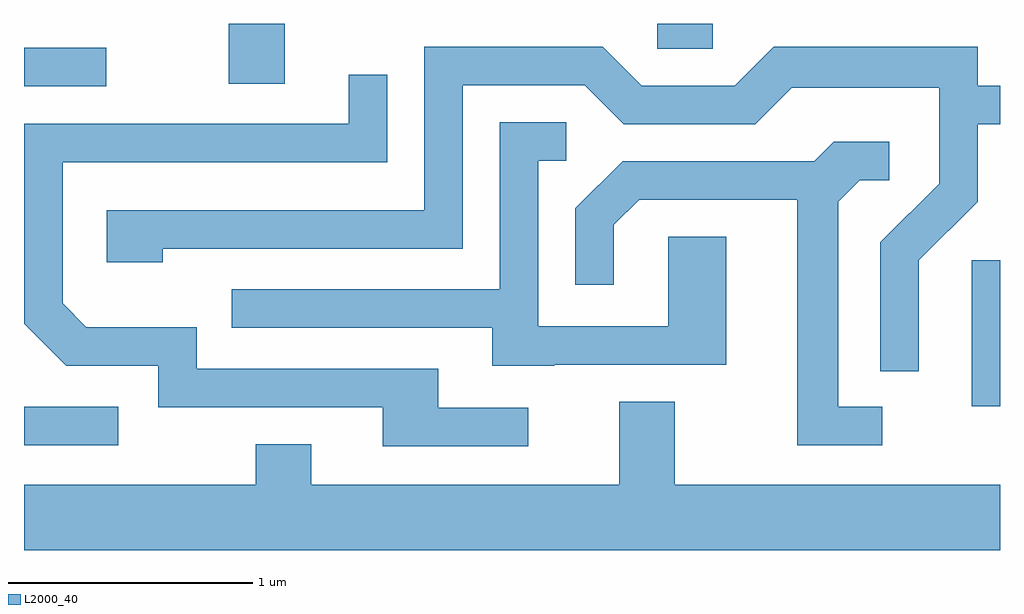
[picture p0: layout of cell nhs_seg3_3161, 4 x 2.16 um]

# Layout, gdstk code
import gdstk
lib = gdstk.Library(unit=1e-6, precision=1e-09)
def R(c, l, rs):  # rectangles x0, y0, x1, y1
    for r in rs: c.add(gdstk.rectangle(r[:2], r[2:], *l))
def P(c, l, *ps):  # polygons
    for p in ps: c.add(gdstk.Polygon(p, *l))
L2000_40 = (2000, 40)

nhs_seg3_3161 = lib.new_cell('nhs_seg3_3161')
R(nhs_seg3_3161, L2000_40, [(277.611,1184.166,277.998,1184.324), (281.496,1184.326,281.611,1184.924), (277.611,1185.636,277.948,1185.794), (278.451,1185.646,278.679,1185.892), (280.206,1185.791,280.434,1185.892)])
P(nhs_seg3_3161, L2000_40, [(281.279,1184.924),(281.519,1185.164),(281.519,1185.481),(281.611,1185.481),(281.611,1185.639),(281.519,1185.639),(281.519,1185.799),(280.684,1185.799),(280.524,1185.639),(280.142,1185.639),(279.982,1185.799),(279.251,1185.799),(279.251,1185.129),(277.951,1185.129),(277.951,1184.916),(278.179,1184.916),(278.179,1184.971),(279.409,1184.971),(279.409,1185.641),(279.909,1185.641),(280.069,1185.481),(280.607,1185.481),(280.757,1185.631),(281.361,1185.631),(281.361,1185.237),(281.121,1184.997),(281.121,1184.468),(281.279,1184.468)],
  [(279.678,1184.319),(279.309,1184.319),(279.309,1184.479),(278.319,1184.479),(278.319,1184.649),(277.867,1184.649),(277.769,1184.747),(277.769,1185.326),(279.099,1185.326),(279.099,1185.683),(278.941,1185.683),(278.941,1185.484),(277.611,1185.484),(277.611,1184.664),(277.784,1184.491),(278.161,1184.491),(278.161,1184.321),(279.081,1184.321),(279.081,1184.161),(279.678,1184.161)],
  [(279.785,1184.496),(280.489,1184.496),(280.489,1185.019),(280.251,1185.019),(280.251,1184.654),(279.719,1184.654),(279.719,1185.331),(279.833,1185.331),(279.833,1185.489),(279.561,1185.489),(279.561,1184.804),(278.463,1184.804),(278.463,1184.646),(279.531,1184.646),(279.531,1184.491),(279.785,1184.491)],
  [(281.128,1184.324),(280.949,1184.324),(280.949,1185.164),(281.037,1185.251),(281.158,1185.251),(281.158,1185.409),(280.929,1185.409),(280.849,1185.329),(280.064,1185.329),(279.871,1185.137),(279.871,1184.823),(280.029,1184.823),(280.029,1185.069),(280.132,1185.171),(280.781,1185.171),(280.781,1184.166),(281.128,1184.166)],
  [(281.611,1184.004),(280.279,1184.004),(280.279,1184.344),(280.051,1184.344),(280.051,1184.004),(278.789,1184.004),(278.789,1184.169),(278.561,1184.169),(278.561,1184.004),(277.611,1184.004),(277.611,1183.736),(281.611,1183.736)])

lib.write_gds('nhs_seg3_3161.gds')
